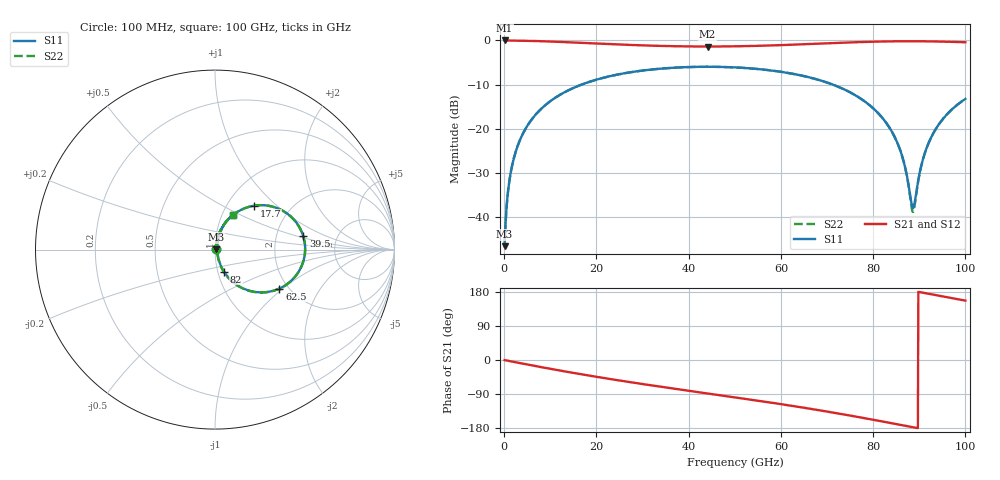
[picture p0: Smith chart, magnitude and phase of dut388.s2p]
! Touchstone file exported from HFSS 2026.1.0
!  File:  C:/ffzhzh/LocalFiles/Ansys_Project_Files/temp_train_RDL_388_1783503869_31944.aedt
!  Generated:  05:45:54 PM Jul  8, 2026
!  Design:  RDL
!  Project:  temp_train_RDL_388_1783503869_31944
! Variables:
!  h_bsmrdl = 2um
!  h_ox = 20um
!  h_rdl = 5um
!  h_sub = 80um
!  h_tmrdl = 3.09um
!  h_tsv = 80um
!  h_via = 3um
!  l_bsmrdl = 300um
!  l_sub = 1080.9um
!  l_tmrdl = 680.9um
!  m_sub = 200um
!  pitch = 40.28um
!  r_tsv = 6um
!  s_tmrdl = 10um
!  w_bsmrdl = 18um
!  w_sub = 500um
!  w_tmrdl = 20.39um
!  x_tsv_center1 = 691.095um
!  x_tsv_center2 = 1009.095um
!  x_tsv_center3 = 1710.385um
!  x_tsv_center4 = 2028.385um
!  x_tsv_center5 = 2729.675um
!  x_tsv_center6 = 3047.675um
# GHz S MA R 50.000000
! Terminal data exported
! Port[1] = TM_RDL1_1_T1
! Port[2] = TM_RDL1_1_T2
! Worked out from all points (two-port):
!   1000 points, 100 MHz to 100 GHz, reference 50 ohm
!   highest |S21| = -0.03 dB at 100 MHz (marker M1); lowest = -1.4 dB at 44.1 GHz (marker M2)
!   |S21| within 3 dB of the highest: start of sweep to end of sweep
!   lowest |S11| = -46.5 dB at 100 MHz (marker M3), VSWR 1.01, Z = 50.4 + j0.249 ohm
!   |S11| at or under -10 dB: start of sweep to 16.82 GHz; 71.22 GHz to end of sweep
!   |S22| runs from -46.5 to -6.0 dB; largest |S21 - S12| = 1.7e-14
!   S11 on the Smith chart (normalised r, x): 100 MHz: 1.01, +0.00; 17.7 GHz: 1.33, +0.73; 39.5 GHz: 2.85, +0.57; 62.5 GHz: 1.80, -0.95; 82 GHz: 1.07, -0.27; 100 GHz: 1.12, +0.46
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0.1  0.004718 31.5  0.996 -0.3  0.996 -0.3  0.004718 31.5
! Gamma 0 0 0 0
! Port Impedance 50 0 50 0
0.9  0.02085 73.7  0.9947 -2.2  0.9947 -2.2  0.02085 73.7
1.6  0.0357 77.5  0.994 -3.8  0.994 -3.8  0.0357 77.4
4.2  0.09093 75.9  0.9893 -10.0  0.9893 -10.0  0.09092 75.9
9.1  0.1884 65.9  0.9726 -21.2  0.9726 -21.2  0.1884 65.9
16.8  0.316 50.0  0.9361 -37.8  0.9361 -37.8  0.316 49.9
17.7  0.3287 48.2  0.9316 -39.7  0.9316 -39.7  0.3287 48.1
33.4  0.4756 19.1  0.8657 -69.5  0.8657 -69.5  0.4755 19.0
39.5  0.4976 8.6  0.8535 -80.2  0.8535 -80.2  0.4975 8.5
44.1  0.5024 0.9  0.8507 -88.2  0.8507 -88.2  0.5023 0.7
50.1  0.4937 -9.3  0.8554 -98.6  0.8554 -98.6  0.4936 -9.4
62.5  0.4192 -31.2  0.892 -121.2  0.892 -121.2  0.419 -31.4
66.7  0.375 -39.0  0.9101 -129.4  0.9101 -129.4  0.3749 -39.2
75.7  0.2467 -56.5  0.9494 -148.1  0.9494 -148.1  0.2465 -56.9
82  0.133 -67.8  0.9693 -162.2  0.9693 -162.2  0.1328 -68.4
83.4  0.1059 -69.5  0.9721 -165.4  0.9721 -165.4  0.1057 -70.3
86.2  0.05097 -68.3  0.9756 -171.8  0.9756 -171.8  0.05061 -69.8
88.7  0.01277 6.7  0.9761 -177.6  0.9761 -177.6  0.01156 7.4
90.7  0.0434 69.9  0.9747 177.8  0.9747 177.8  0.0431 71.4
92.6  0.0804 73.6  0.972 173.4  0.972 173.4  0.08025 74.3
95.8  0.1419 70.4  0.9645 166.1  0.9645 166.1  0.1418 70.7
100  0.2176 63.0  0.9501 156.8  0.9501 156.8  0.2175 63.1
